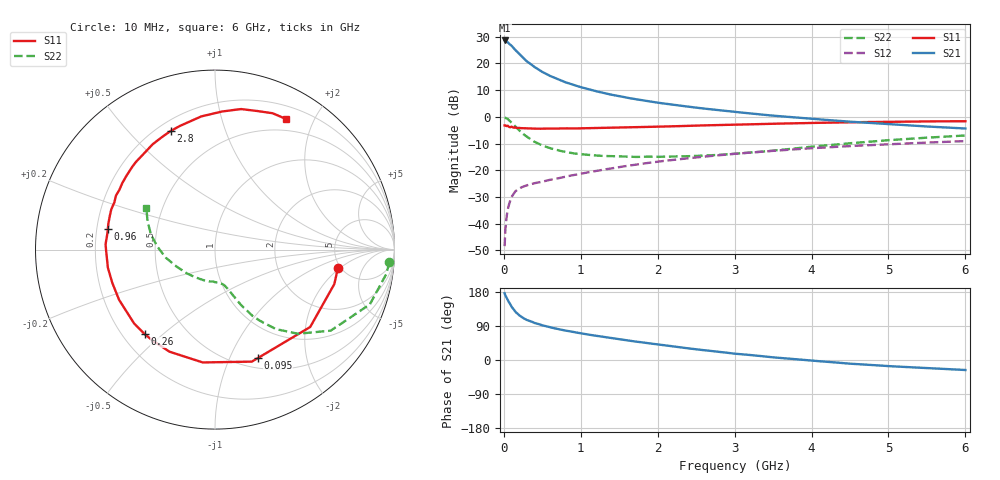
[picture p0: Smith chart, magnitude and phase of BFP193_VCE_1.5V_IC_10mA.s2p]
! Infineon Technologies  Discrete & RF Semiconductors
! BFP193
! VCE = 1.5 V,  IC =  10 mA
! Common Emitter S-Parameters:  Jan 2016
# GHz  S  MA  R  50
!  f  S11  S21  S12  S22
! GHz  MAG  ANG  MAG  ANG  MAG  ANG  MAG  ANG
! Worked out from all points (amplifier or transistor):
!   210 points, 10 MHz to 6 GHz, reference 50 ohm
!   highest |S21| = 28.6 dB at 10 MHz (marker M1)
!   |S21| within 3 dB of that: start of sweep to 131.1 MHz
!   unconditionally stable (mu >= 1): 962.8 MHz to 3.812 GHz
!   at 185 MHz: K = 0.33, MSG = 25.5 dB, |S12| = -27.1 dB
!   at 1.52 GHz: K = 1.10, MAG = 11.3 dB, |S12| = -18.7 dB
!   at 6 GHz: K = 0.93, MSG = 2.4 dB, |S12| = -9.1 dB
!   S11 on the Smith chart (normalised r, x): 10 MHz: 4.74, -1.86; 95 MHz: 0.61, -1.28; 260 MHz: 0.29, -0.44; 960 MHz: 0.25, +0.09; 2.8 GHz: 0.25, +0.66; 6 GHz: 0.35, +1.62
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0.01  0.6924 -8.5  26.95 176.2  0.0038 88.2  0.9742 -4.2
0.02  0.692 -16.1  26.32 170.4  0.0077 82.3  0.9641 -8.1
0.05  0.6836 -39.1  25.01 158.0  0.0183 72.6  0.9151 -19.5
0.095  0.6499 -68.5  21.77 142.5  0.0303 60.4  0.7969 -33.2
0.1  0.657 -71.8  21.53 140.5  0.0317 59.6  0.787 -35.0
0.15  0.6324 -96.2  17.8 127.0  0.0404 50.8  0.6598 -45.3
0.2  0.6228 -114.1  15.02 117.9  0.0457 45.8  0.5582 -52.5
0.24  0.614 -124.9  13.1 112.4  0.0487 43.5  0.4941 -56.1
0.26  0.6128 -129.6  12.29 109.9  0.05 42.7  0.4674 -57.8
0.3  0.6102 -137.6  10.94 105.5  0.0524 41.6  0.4238 -60.5
0.4  0.6033 -152.3  8.553 97.7  0.0574 40.9  0.3413 -64.8
0.5  0.6015 -162.1  6.937 91.5  0.0612 41.4  0.291 -67.5
0.7  0.6055 -177.4  5.073 81.5  0.0704 43.6  0.2371 -71.3
0.96  0.6086 169.1  3.751 71.9  0.0844 46.0  0.2034 -75.9
1.02  0.6115 166.3  3.538 69.8  0.0875 46.4  0.1991 -77.1
1.4  0.6286 151.3  2.597 57.9  0.1086 47.3  0.1846 -85.6
2.02  0.6582 131.4  1.827 40.6  0.1464 45.6  0.1789 -104.3
2.8  0.7057 110.4  1.334 21.4  0.1919 39.8  0.1946 -132.1
3.1  0.7203 103.8  1.201 15.0  0.2089 37.0  0.2083 -142.8
4.1  0.7744 85.5  0.898 -3.2  0.2639 27.0  0.2848 -173.3
5.1  0.8101 71.8  0.717 -17.1  0.3118 16.4  0.3739 164.7
6  0.8283 61.6  0.606 -26.4  0.3522 6.6  0.4489 148.5
